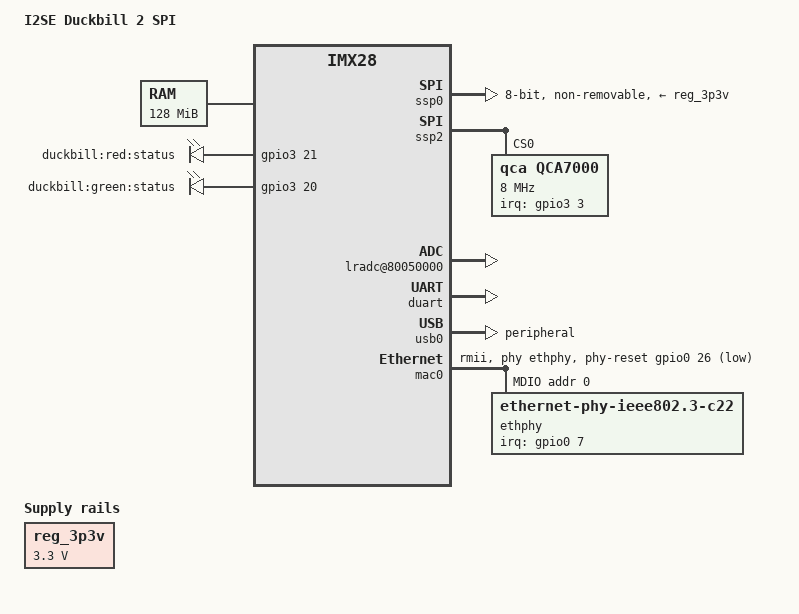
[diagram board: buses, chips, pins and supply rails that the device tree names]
FASTVC-BENCH-CORPUS:linux-main-100k-v1-e0bd41dc-8e12-4f1b-978d-a3645ae59da0
/* bench 4005.2.0 663219f05ea2 */
/* bench 4005.2.1 d556f517b89f */
/* bench 4005.2.2 afc604d9fedc */
/* bench 4005.2.3 5c787be01f32 */
/* bench 4005.2.4 8125e55680bc */
/* bench 4005.2.5 412b44d1302a */
/* bench 4005.2.6 2d872fd6fa43 */
/* bench 4005.2.7 4e8af4e9dd58 */
/* bench 4005.2.8 917442967a6e */
/* bench 4005.2.9 31a764517327 */
 * Copyright (C) 2015-2017 I2SE GmbH <info@i2se.com>
 * Copyright (C) 2016 Michael Heimpold <mhei@heimpold.de>
 */

/dts-v1/;
#include <dt-bindings/interrupt-controller/irq.h>
#include <dt-bindings/gpio/gpio.h>
#include "imx28.dtsi"

/ {
	model = "I2SE Duckbill 2 SPI";
	compatible = "i2se,duckbill-2-spi", "i2se,duckbill-2", "fsl,imx28";

	aliases {
		ethernet1 = &qca7000;
	};

	memory@40000000 {
		device_type = "memory";
		reg = <0x40000000 0x08000000>;
	};

	apb@80000000 {
		apbh@80000000 {
			ssp0: spi@80010000 {
				compatible = "fsl,imx28-mmc";
				pinctrl-names = "default";
				pinctrl-0 = <&mmc0_8bit_pins_a
					&mmc0_cd_cfg &mmc0_sck_cfg>;
				bus-width = <8>;
				vmmc-supply = <&reg_3p3v>;
				status = "okay";
				non-removable;
			};

			ssp2: spi@80014000 {
				compatible = "fsl,imx28-spi";
				pinctrl-names = "default";
				pinctrl-0 = <&spi2_pins_a>;
				status = "okay";

				qca7000: ethernet@0 {
					reg = <0>;
					compatible = "qca,qca7000";
					pinctrl-names = "default";
					pinctrl-0 = <&qca7000_pins>;
					interrupt-parent = <&gpio3>;
					interrupts = <3 IRQ_TYPE_EDGE_RISING>;
					spi-cpha;
					spi-cpol;
					spi-max-frequency = <8000000>;
				};
			};

			pinctrl@80018000 {
				pinctrl-names = "default";
				pinctrl-0 = <&hog_pins_a>;

				hog_pins_a: hog@0 {
					reg = <0>;
					fsl,pinmux-ids = <
						MX28_PAD_LCD_D17__GPIO_1_17    /* Revision detection */
					>;
					fsl,drive-strength = <MXS_DRIVE_4mA>;
					fsl,voltage = <MXS_VOLTAGE_HIGH>;
					fsl,pull-up = <MXS_PULL_DISABLE>;
				};

				mac0_phy_reset_pin: mac0-phy-reset@0 {
					reg = <0>;
					fsl,pinmux-ids = <
						MX28_PAD_GPMI_ALE__GPIO_0_26    /* PHY Reset */
					>;
					fsl,drive-strength = <MXS_DRIVE_4mA>;
					fsl,voltage = <MXS_VOLTAGE_HIGH>;
					fsl,pull-up = <MXS_PULL_DISABLE>;
				};

				mac0_phy_int_pin: mac0-phy-int@0 {
					reg = <0>;
					fsl,pinmux-ids = <
						MX28_PAD_GPMI_D07__GPIO_0_7    /* PHY Interrupt */
					>;
					fsl,drive-strength = <MXS_DRIVE_4mA>;
/* bench 21159.0.0 70c54c7eca00 */
/* bench 21159.0.1 6d8d7e6d3797 */
/* bench 21159.0.2 8d9cbaf08e2f */
/* bench 21159.0.3 b4c08e6a4242 */
/* bench 21159.0.4 b960e9527b6e */
/* bench 21159.0.5 aecb75d40a48 */
/* bench 21159.0.6 61f7114bca82 */
/* bench 21159.0.7 2d861fbde14d */
/* bench 21159.0.8 8fefaa93bbef */
/* bench 21159.0.9 92d3ad65be93 */
/* bench 21159.0.10 54c211858486 */
/* bench 21159.0.11 46888e13c81f */
/* bench 21159.0.12 2469bb3570e3 */
/* bench 21159.0.13 172451f5793a */
/* bench 21159.0.14 0100e72c7647 */
/* bench 21159.0.15 24a223418708 */
				};

				led_pins: led@0 {
					reg = <0>;
					fsl,pinmux-ids = <
						MX28_PAD_SAIF0_MCLK__GPIO_3_20
						MX28_PAD_SAIF0_LRCLK__GPIO_3_21
					>;
					fsl,drive-strength = <MXS_DRIVE_4mA>;
					fsl,voltage = <MXS_VOLTAGE_HIGH>;
					fsl,pull-up = <MXS_PULL_DISABLE>;
				};

				qca7000_pins: qca7000@0 {
					reg = <0>;
					fsl,pinmux-ids = <
						MX28_PAD_AUART0_RTS__GPIO_3_3    /* Interrupt */
						MX28_PAD_LCD_D13__GPIO_1_13      /* QCA7K reset */
/* bench 1416.0.0 e86d37d4aa73 */
/* bench 1416.0.1 ee76a2c0ed4c */
/* bench 1416.0.2 a03722104350 */
/* bench 1416.0.3 9e273f764db4 */
/* bench 1416.0.4 c629006ba9b6 */
						MX28_PAD_LCD_D15__GPIO_1_15      /* GPIO 1 */
						MX28_PAD_LCD_D18__GPIO_1_18      /* GPIO 2 */
						MX28_PAD_LCD_D21__GPIO_1_21      /* GPIO 3 */
					>;
/* bench 4675.1.0 5f13fa6ff4b6 */
/* bench 4675.1.1 dfa203b8ae37 */
/* bench 4675.1.2 eea0837a1725 */
/* bench 4675.1.3 d32195c822ff */
/* bench 4675.1.4 56196c2e40ac */
/* bench 4675.1.5 cffaddad15f7 */
/* bench 4675.1.6 eeb79ce4e911 */
/* bench 4675.1.7 b0899f123b8e */
/* bench 4675.1.8 259b7a66721f */
/* bench 4675.1.9 65d4bc8b8cd0 */
/* bench 4675.1.10 2fc25ba61627 */
					fsl,pull-up = <MXS_PULL_DISABLE>;
				};
			};
		};

		apbx@80040000 {
			lradc@80050000 {
				status = "okay";
			};

			duart: serial@80074000 {
				pinctrl-names = "default";
				pinctrl-0 = <&duart_pins_a>;
				status = "okay";
			};

			usbphy0: usbphy@8007c000 {
				status = "okay";
			};
		};
	};

	ahb@80080000 {
		usb0: usb@80080000 {
			status = "okay";
			dr_mode = "peripheral";
		};

		mac0: ethernet@800f0000 {
			phy-mode = "rmii";
			pinctrl-names = "default";
			pinctrl-0 = <&mac0_pins_a>, <&mac0_phy_reset_pin>;
/* bench 15626.0.0 6ce3f8686030 */
			phy-reset-gpios = <&gpio0 26 GPIO_ACTIVE_LOW>;
			phy-reset-duration = <25>;
			phy-handle = <&ethphy>;
			status = "okay";

			mdio {
				#address-cells = <1>;
				#size-cells = <0>;

				ethphy: ethernet-phy@0 {
					compatible = "ethernet-phy-ieee802.3-c22";
					reg = <0>;
					pinctrl-names = "default";
					pinctrl-0 = <&mac0_phy_int_pin>;
					interrupt-parent = <&gpio0>;
					interrupts = <7 IRQ_TYPE_EDGE_FALLING>;
					max-speed = <100>;
				};
			};
		};
	};

	reg_3p3v: regulator-3p3v {
		compatible = "regulator-fixed";
		regulator-name = "3P3V";
		regulator-min-microvolt = <3300000>;
		regulator-max-microvolt = <3300000>;
		regulator-always-on;
	};

	leds {
		compatible = "gpio-leds";
		pinctrl-names = "default";
		pinctrl-0 = <&led_pins>;

		status-red {
			label = "duckbill:red:status";
			gpios = <&gpio3 21 GPIO_ACTIVE_HIGH>;
			linux,default-trigger = "default-on";
		};

		status-green {
			label = "duckbill:green:status";
			gpios = <&gpio3 20 GPIO_ACTIVE_HIGH>;
			linux,default-trigger = "heartbeat";
		};
	};
};
